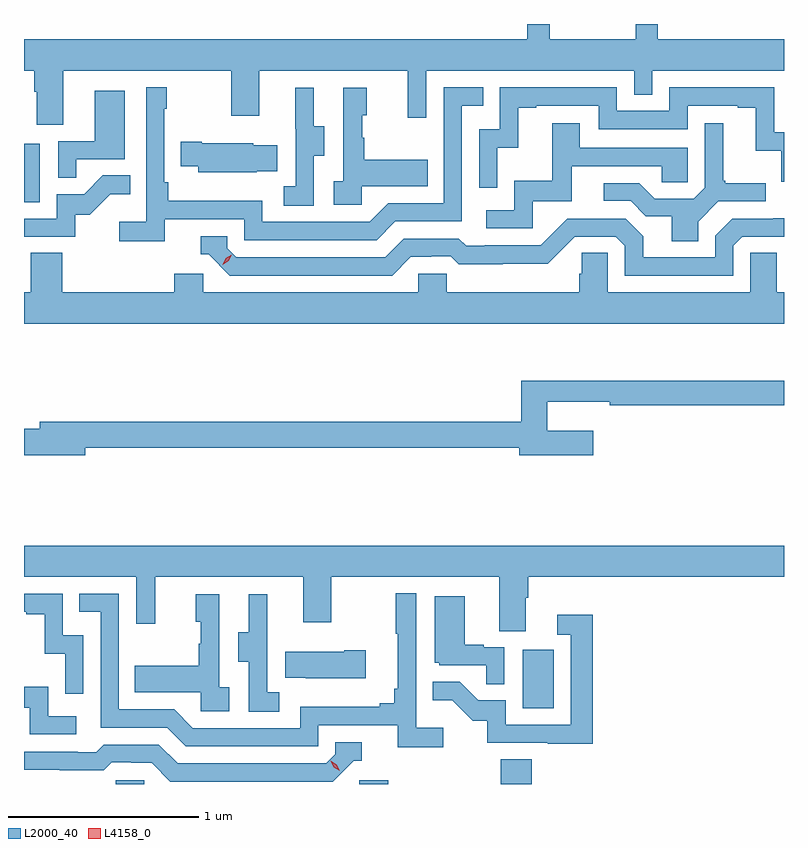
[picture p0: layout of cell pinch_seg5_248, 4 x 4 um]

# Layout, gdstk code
import gdstk
lib = gdstk.Library(unit=1e-6, precision=1e-09)
def R(c, l, rs):  # rectangles x0, y0, x1, y1
    for r in rs: c.add(gdstk.rectangle(r[:2], r[2:], *l))
def P(c, l, *ps):  # polygons
    for p in ps: c.add(gdstk.Polygon(p, *l))
L2000_40 = (2000, 40)
L4158_0 = (4158, 0)

pinch_seg5_248 = lib.new_cell('pinch_seg5_248')
R(pinch_seg5_248, L2000_40, [(936.225,906.285,936.375,906.306), (937.506,906.285,937.658,906.306), (938.249,906.285,938.414,906.416), (938.366,906.684,938.53,906.991), (935.741,909.348,935.824,909.655)])
P(pinch_seg5_248, L2000_40, [(935.947,910.04),(936.832,910.04),(936.832,909.801),(936.979,909.801),(936.979,910.04),(937.76,910.04),(937.76,909.792),(937.857,909.792),(937.857,910.04),(938.952,910.04),(938.952,909.913),(939.048,909.913),(939.048,910.04),(939.741,910.04),(939.741,910.204),(939.077,910.204),(939.077,910.285),(938.96,910.285),(938.96,910.204),(938.507,910.204),(938.507,910.285),(938.389,910.285),(938.389,910.204),(935.741,910.204),(935.741,910.04),(935.795,910.04),(935.795,909.928),(935.807,909.928),(935.807,909.754),(935.947,909.754)],
  [(936.482,909.258),(936.9,909.258),(936.9,909.147),(937.597,909.147),(937.696,909.246),(938.046,909.246),(938.046,909.855),(938.159,909.855),(938.159,909.951),(937.95,909.951),(937.95,909.342),(937.659,909.342),(937.56,909.243),(936.996,909.243),(936.996,909.355),(936.5,909.355),(936.5,909.451),(936.48,909.451),(936.48,909.839),(936.493,909.839),(936.493,909.952),(936.384,909.952),(936.384,909.244),(936.243,909.244),(936.243,909.142),(936.482,909.142)],
  [(938.232,909.635),(938.342,909.635),(938.342,909.843),(938.437,909.843),(938.437,909.855),(938.766,909.855),(938.766,909.732),(939.234,909.732),(939.234,909.855),(939.497,909.855),(939.497,909.843),(939.593,909.843),(939.593,909.617),(939.726,909.617),(939.726,909.456),(939.741,909.456),(939.741,909.715),(939.69,909.715),(939.69,909.951),(939.138,909.951),(939.138,909.828),(938.862,909.828),(938.862,909.951),(938.244,909.951),(938.244,909.732),(938.136,909.732),(938.136,909.423),(938.232,909.423)],
  [(937.518,909.431),(937.865,909.431),(937.865,909.571),(937.531,909.571),(937.531,909.686),(937.521,909.686),(937.521,909.804),(937.546,909.804),(937.546,909.949),(937.422,909.949),(937.422,909.458),(937.371,909.458),(937.371,909.333),(937.518,909.333)],
  [(937.266,909.592),(937.321,909.592),(937.321,909.747),(937.267,909.747),(937.267,909.949),(937.169,909.949),(937.169,909.735),(937.17,909.735),(937.17,909.431),(937.107,909.431),(937.107,909.328),(937.266,909.328)],
  [(936.017,909.573),(936.271,909.573),(936.271,909.934),(936.113,909.934),(936.113,909.669),(935.922,909.669),(935.922,909.475),(936.017,909.475)],
  [(938.418,909.351),(938.623,909.351),(938.623,909.537),(939.097,909.537),(939.097,909.453),(939.234,909.453),(939.234,909.633),(938.665,909.633),(938.665,909.763),(938.521,909.763),(938.521,909.46),(938.322,909.46),(938.322,909.306),(938.175,909.306),(938.175,909.21),(938.418,909.21)],
  [(939.289,909.244),(939.396,909.351),(939.646,909.351),(939.646,909.448),(939.433,909.448),(939.433,909.46),(939.421,909.46),(939.421,909.763),(939.324,909.763),(939.324,909.423),(939.267,909.366),(939.061,909.366),(938.98,909.447),(938.793,909.447),(938.793,909.354),(938.934,909.354),(939.014,909.274),(939.149,909.274),(939.149,909.142),(939.289,909.142)],
  [(936.965,909.509),(937.073,909.509),(937.073,909.646),(936.948,909.646),(936.948,909.658),(936.676,909.658),(936.676,909.666),(936.565,909.666),(936.565,909.536),(936.659,909.536),(936.659,909.506),(936.965,909.506)],
  [(936.012,909.282),(936.088,909.282),(936.195,909.389),(936.299,909.389),(936.299,909.488),(936.155,909.488),(936.057,909.39),(935.913,909.39),(935.913,909.261),(935.741,909.261),(935.741,909.165),(936.012,909.165)],
  [(937.777,909.06),(937.884,909.06),(937.884,909.063),(937.987,909.063),(938.029,909.021),(938.262,909.021),(938.262,909.023),(938.498,909.023),(938.64,909.165),(938.856,909.165),(938.904,909.117),(938.904,908.961),(939.474,908.961),(939.474,909.117),(939.522,909.165),(939.741,909.165),(939.741,909.263),(939.684,909.263),(939.684,909.261),(939.468,909.261),(939.378,909.171),(939.378,909.057),(939.001,909.057),(939.001,909.167),(938.907,909.261),(938.601,909.261),(938.46,909.12),(938.167,909.12),(938.167,909.117),(938.068,909.117),(938.029,909.156),(937.74,909.156),(937.641,909.057),(936.858,909.057),(936.81,909.105),(936.81,909.168),(936.671,909.168),(936.671,909.072),(936.714,909.072),(936.825,908.961),(937.678,908.961)],
  [(939.741,908.872),(939.703,908.872),(939.703,909.08),(939.564,909.08),(939.564,908.872),(938.814,908.872),(938.814,909.08),(938.677,909.08),(938.677,908.97),(938.663,908.97),(938.663,908.872),(937.965,908.872),(937.965,908.97),(937.815,908.97),(937.815,908.872),(936.684,908.872),(936.684,908.97),(936.533,908.97),(936.533,908.872),(935.942,908.872),(935.942,909.08),(935.777,909.08),(935.777,908.872),(935.741,908.872),(935.741,908.708),(939.741,908.708)],
  [(936.064,908.056),(938.348,908.056),(938.348,908.014),(938.737,908.014),(938.737,908.143),(938.495,908.143),(938.495,908.297),(938.824,908.297),(938.824,908.278),(939.741,908.278),(939.741,908.407),(938.359,908.407),(938.359,908.192),(935.825,908.192),(935.825,908.156),(935.741,908.156),(935.741,908.014),(936.064,908.014)],
  [(938.383,907.264),(938.396,907.264),(938.396,907.376),(939.741,907.376),(939.741,907.54),(935.741,907.54),(935.741,907.376),(936.333,907.376),(936.333,907.128),(936.431,907.128),(936.431,907.376),(937.211,907.376),(937.211,907.137),(937.359,907.137),(937.359,907.376),(938.243,907.376),(938.243,907.09),(938.383,907.09)],
  [(937.948,906.58),(937.806,906.58),(937.806,907.288),(937.698,907.288),(937.698,907.075),(937.709,907.075),(937.709,906.787),(937.69,906.787),(937.69,906.71),(937.613,906.71),(937.613,906.691),(937.194,906.691),(937.194,906.579),(936.63,906.579),(936.531,906.678),(936.24,906.678),(936.24,907.287),(936.031,907.287),(936.031,907.191),(936.144,907.191),(936.144,906.582),(936.494,906.582),(936.593,906.483),(937.29,906.483),(937.29,906.594),(937.709,906.594),(937.709,906.478),(937.948,906.478)],
  [(936.054,907.068),(935.946,907.068),(935.946,907.287),(935.741,907.287),(935.741,907.191),(935.753,907.191),(935.753,907.179),(935.849,907.179),(935.849,906.971),(935.958,906.971),(935.958,906.759),(936.054,906.759)],
  [(936.82,906.794),(936.768,906.794),(936.768,907.285),(936.644,907.285),(936.644,907.14),(936.67,907.14),(936.67,907.022),(936.66,907.022),(936.66,906.907),(936.325,906.907),(936.325,906.767),(936.672,906.767),(936.672,906.669),(936.82,906.669)],
  [(937.084,906.767),(937.02,906.767),(937.02,907.071),(937.022,907.071),(937.022,907.285),(936.923,907.285),(936.923,907.083),(936.869,907.083),(936.869,906.928),(936.924,906.928),(936.924,906.664),(937.084,906.664)],
  [(938.268,907.005),(938.162,907.005),(938.162,907.018),(938.062,907.018),(938.062,907.273),(937.904,907.273),(937.904,906.924),(937.926,906.924),(937.926,906.909),(938.173,906.909),(938.173,906.811),(938.268,906.811)],
  [(938.735,907.177),(938.547,907.177),(938.547,907.071),(938.619,907.071),(938.619,906.597),(938.277,906.597),(938.277,906.726),(938.133,906.726),(938.035,906.824),(937.891,906.824),(937.891,906.725),(937.995,906.725),(938.102,906.618),(938.179,906.618),(938.179,906.501),(938.497,906.501),(938.497,906.496),(938.735,906.496)],
  [(937.54,906.99),(937.427,906.99),(937.427,906.982),(937.117,906.982),(937.117,906.845),(937.225,906.845),(937.225,906.842),(937.54,906.842)],
  [(936.016,906.642),(935.868,906.642),(935.868,906.796),(935.741,906.796),(935.741,906.687),(935.772,906.687),(935.772,906.546),(936.016,906.546)],
  [(937.476,906.408),(937.519,906.408),(937.519,906.504),(937.38,906.504),(937.38,906.441),(937.332,906.393),(936.549,906.393),(936.45,906.492),(936.161,906.492),(936.122,906.453),(936.023,906.453),(936.023,906.456),(935.741,906.456),(935.741,906.359),(935.928,906.359),(935.928,906.357),(936.161,906.357),(936.203,906.399),(936.306,906.399),(936.306,906.396),(936.413,906.396),(936.512,906.297),(937.365,906.297)])
P(pinch_seg5_248, L4158_0, [(937.402,906.354),(937.371,906.374),(937.356,906.407),(937.356,906.407),(937.356,906.407),(937.386,906.387),(937.402,906.354),(937.402,906.354)],
  [(936.787,909.019),(936.787,909.019),(936.804,909.051),(936.834,909.07),(936.835,909.07),(936.835,909.07),(936.818,909.038),(936.787,909.019)])

lib.write_gds('pinch_seg5_248.gds')
